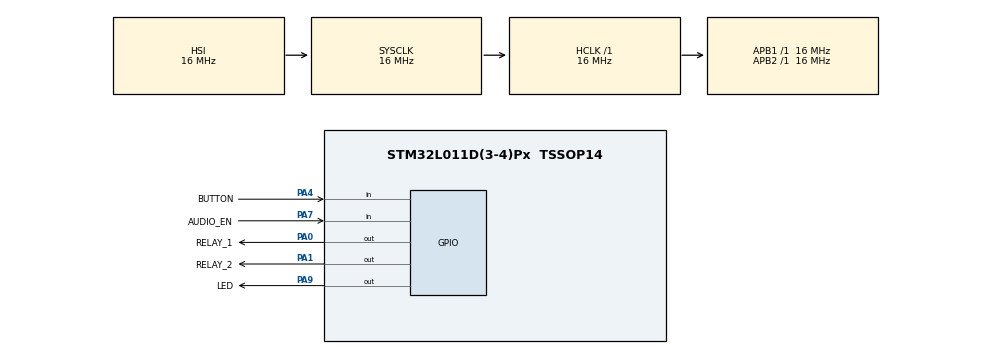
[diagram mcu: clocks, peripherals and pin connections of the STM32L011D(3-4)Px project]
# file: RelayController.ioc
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Mcu.Family=STM32L0
RCC.MSI_VALUE=2097000
PA0-CK_IN.GPIO_Label=RELAY_1
PA9.GPIO_Label=LED
RCC.SYSCLKSource=RCC_SYSCLKSOURCE_HSI
ProjectManager.StackSize=0x400
PA13.Signal=SYS_SWDIO
RCC.HSI16_VALUE=16000000
ProjectManager.TargetToolchain=STM32CubeIDE
RCC.HCLKFreq_Value=16000000
RCC.APB2TimFreq_Value=16000000
PA9.Signal=GPIO_Output
RCC.LSE_VALUE=32768
PA1.Signal=GPIO_Output
PA7.GPIO_PuPd=GPIO_PULLUP
RCC.AHBFreq_Value=16000000
RCC.HSE_VALUE=8000000
PA4.GPIO_PuPd=GPIO_PULLUP
board=custom
RCC.VCOOutputFreq_Value=48000000
PA0-CK_IN.Signal=GPIO_Output
RCC.APB2Freq_Value=16000000
PA14.Mode=Serial_Wire
PA1.GPIO_Label=RELAY_2
PA13.Mode=Serial_Wire
Mcu.Name=STM32L011D(3-4)Px
PA9.GPIO_ModeDefaultOutputPP=GPIO_MODE_OUTPUT_OD
PA4.Signal=GPIO_Input
RCC.SYSCLKFreq_VALUE=16000000
Mcu.Package=TSSOP14
PA7.GPIO_Label=AUDIO_EN
PA14.Signal=SYS_SWCLK
ProjectManager.HeapSize=0x200
RCC.HSI_VALUE=16000000
RCC.APB1TimFreq_Value=16000000
RCC.APB1Freq_Value=16000000
PA4.GPIO_Label=BUTTON
PA7.Signal=GPIO_Input

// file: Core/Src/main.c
/* USER CODE BEGIN Header */
/**
  ******************************************************************************
  * @file           : main.c
  * @brief          : Main program body
  ******************************************************************************
  * @attention
  *
  * <h2><center>&copy; Copyright (c) 2020 STMicroelectronics.
  * All rights reserved.</center></h2>
  *
  * This software component is licensed by ST under BSD 3-Clause license,
  * the "License"; You may not use this file except in compliance with the
  * License. You may obtain a copy of the License at:
  *                        opensource.org/licenses/BSD-3-Clause
  *
  ******************************************************************************
  */
/* USER CODE END Header */
#include "main.h"

/* USER CODE BEGIN Includes */
#include "stdbool.h"
/* USER CODE END Includes */

void SystemClock_Config(void);
static void MX_GPIO_Init(void);

/* USER CODE BEGIN 0 */
struct DebouncedGpio {
    uint16_t pin;
    GPIO_TypeDef* port;
    uint32_t active_counts_required;
    uint32_t active_counts;
    uint32_t inactive_counts_required;
    uint32_t inactive_counts;
    GPIO_PinState active_state;
};

enum GpioState {
    ACTIVE,
    TRANSITIONING,
    INACTIVE,
};

enum GpioState get_state(struct DebouncedGpio* pin) {
    if (HAL_GPIO_ReadPin(pin->port, pin->pin) == pin->active_state) {
        pin->active_counts++;
        pin->inactive_counts = 0;
    } else {
        pin->active_counts = 0;
        pin->inactive_counts++;
    }
    if (pin->active_counts >= pin->active_counts_required && pin->inactive_counts == 0) {
        return ACTIVE;
    }
    if (pin->inactive_counts >= pin->inactive_counts_required && pin->active_counts == 0) {
        return INACTIVE;
    }
    return TRANSITIONING;
}

void reset(struct DebouncedGpio* pin) {
	pin->active_counts = 0;
	pin->inactive_counts = 0;
}

enum RelayState {
    DISABLED,
    AUDIO,
    BUTTON,
};

struct Relay {
    uint16_t pin;
    GPIO_TypeDef* port;
    uint16_t led_pin;
    GPIO_TypeDef* led_port;
    uint32_t disabled_for;
    enum RelayState state;
};

void enable_relay(struct Relay* relay, bool audio) {
    if (audio && relay->disabled_for != 0) return;
    HAL_GPIO_WritePin(relay->port, relay->pin, GPIO_PIN_SET);
    HAL_GPIO_WritePin(relay->led_port, relay->led_pin, GPIO_PIN_RESET);
    relay->state = audio ? AUDIO : BUTTON;
}

void disable_relay(struct Relay* relay) {
    HAL_GPIO_WritePin(relay->port, relay->pin, GPIO_PIN_RESET);
    HAL_GPIO_WritePin(relay->led_port, relay->led_pin, GPIO_PIN_SET);
    relay->disabled_for = 4 * 1000;
    relay->state = DISABLED;
}

void poll_relay(struct Relay* relay) {
    if (relay->disabled_for > 0)
        relay->disabled_for--;
}
/* USER CODE END 0 */

int main(void)
{

  /* MCU Configuration--------------------------------------------------------*/

  /* Reset of all peripherals, Initializes the Flash interface and the Systick. */
  HAL_Init();

  /* Configure the system clock */
  SystemClock_Config();

  /* Initialize all configured peripherals */
  MX_GPIO_Init();
  /* USER CODE BEGIN 2 */
  struct DebouncedGpio button = {
      .pin = BUTTON_Pin,
      .port = BUTTON_GPIO_Port,
	  .active_counts = 0,
      .active_counts_required = 20,
	  .inactive_counts = 0,
      .inactive_counts_required = 20,
      .active_state = GPIO_PIN_RESET,
  };
  struct DebouncedGpio audio_en = {
      .pin = AUDIO_EN_Pin,
      .port = AUDIO_EN_GPIO_Port,
	  .active_counts = 0,
      .active_counts_required = 20,
	  .inactive_counts = 0,
      .inactive_counts_required = 60 * 1000,
      .active_state = GPIO_PIN_RESET,
  };
  struct Relay relay = {
      .pin = RELAY_1_Pin,
      .port = RELAY_1_GPIO_Port,
      .led_pin = LED_Pin,
      .led_port = LED_GPIO_Port,
      .disabled_for = 1000,
      .state = DISABLED,
  };

  bool button_state = false;
  /* USER CODE END 2 */

  /* Infinite loop */
  /* USER CODE BEGIN WHILE */
  while (1)
  {
      poll_relay(&relay);

	  enum GpioState btn = get_state(&button);
	  if (btn == ACTIVE && button_state == false) {
		  reset(&audio_en);
		  button_state = true;
		  if (relay.state) {
			  disable_relay(&relay);
		  } else {
			  enable_relay(&relay, false);
		  }
	  } else if (btn == INACTIVE && button_state == true) {
		  button_state = false;
	  }

	  enum GpioState aud_en = get_state(&audio_en);
      if (aud_en == ACTIVE && relay.state == DISABLED) {
          enable_relay(&relay, true);
      } else if (aud_en == INACTIVE && relay.state == AUDIO) {
          disable_relay(&relay);
      }

	  HAL_Delay(1);
    /* USER CODE END WHILE */
  }
}

void SystemClock_Config(void)
{
  RCC_OscInitTypeDef RCC_OscInitStruct = {0};
  RCC_ClkInitTypeDef RCC_ClkInitStruct = {0};

  /** Configure the main internal regulator output voltage
  */
  __HAL_PWR_VOLTAGESCALING_CONFIG(PWR_REGULATOR_VOLTAGE_SCALE1);
  /** Initializes the RCC Oscillators according to the specified parameters
  * in the RCC_OscInitTypeDef structure.
  */
  RCC_OscInitStruct.OscillatorType = RCC_OSCILLATORTYPE_HSI;
  RCC_OscInitStruct.HSIState = RCC_HSI_ON;
  RCC_OscInitStruct.HSICalibrationValue = RCC_HSICALIBRATION_DEFAULT;
  RCC_OscInitStruct.PLL.PLLState = RCC_PLL_NONE;
  if (HAL_RCC_OscConfig(&RCC_OscInitStruct) != HAL_OK)
  {
    Error_Handler();
  }
  /** Initializes the CPU, AHB and APB buses clocks
  */
  RCC_ClkInitStruct.ClockType = RCC_CLOCKTYPE_HCLK|RCC_CLOCKTYPE_SYSCLK
                              |RCC_CLOCKTYPE_PCLK1|RCC_CLOCKTYPE_PCLK2;
  RCC_ClkInitStruct.SYSCLKSource = RCC_SYSCLKSOURCE_HSI;
  RCC_ClkInitStruct.AHBCLKDivider = RCC_SYSCLK_DIV1;
  RCC_ClkInitStruct.APB1CLKDivider = RCC_HCLK_DIV1;
  RCC_ClkInitStruct.APB2CLKDivider = RCC_HCLK_DIV1;

  if (HAL_RCC_ClockConfig(&RCC_ClkInitStruct, FLASH_LATENCY_0) != HAL_OK)
  {
    Error_Handler();
  }
}

static void MX_GPIO_Init(void)
{
  GPIO_InitTypeDef GPIO_InitStruct = {0};

  /* GPIO Ports Clock Enable */
  __HAL_RCC_GPIOA_CLK_ENABLE();

  /*Configure GPIO pin Output Level */
  HAL_GPIO_WritePin(GPIOA, RELAY_1_Pin|RELAY_2_Pin, GPIO_PIN_RESET);
  HAL_GPIO_WritePin(GPIOA, LED_Pin, GPIO_PIN_SET);

  /*Configure GPIO pins : RELAY_1_Pin RELAY_2_Pin */
  GPIO_InitStruct.Pin = RELAY_1_Pin|RELAY_2_Pin;
  GPIO_InitStruct.Mode = GPIO_MODE_OUTPUT_PP;
  GPIO_InitStruct.Pull = GPIO_NOPULL;
  GPIO_InitStruct.Speed = GPIO_SPEED_FREQ_LOW;
  HAL_GPIO_Init(GPIOA, &GPIO_InitStruct);

  /*Configure GPIO pins : BUTTON_Pin AUDIO_EN_Pin */
  GPIO_InitStruct.Pin = BUTTON_Pin|AUDIO_EN_Pin;
  GPIO_InitStruct.Mode = GPIO_MODE_INPUT;
  GPIO_InitStruct.Pull = GPIO_PULLUP;
  HAL_GPIO_Init(GPIOA, &GPIO_InitStruct);

  /*Configure GPIO pin : LED_Pin */
  GPIO_InitStruct.Pin = LED_Pin;
  GPIO_InitStruct.Mode = GPIO_MODE_OUTPUT_OD;
  GPIO_InitStruct.Pull = GPIO_NOPULL;
  GPIO_InitStruct.Speed = GPIO_SPEED_FREQ_LOW;
  HAL_GPIO_Init(LED_GPIO_Port, &GPIO_InitStruct);

}

void Error_Handler(void)
{
}

/************************ (C) COPYRIGHT STMicroelectronics *****END OF FILE****/
